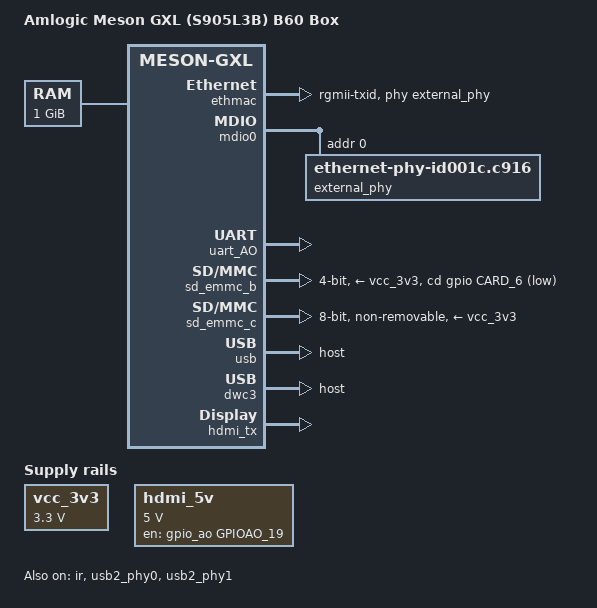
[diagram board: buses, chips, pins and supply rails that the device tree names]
// SPDX-License-Identifier: (GPL-2.0+ OR MIT)
/dts-v1/;

#include "meson-gxl-s905x.dtsi"

/ {
    model = "Amlogic Meson GXL (S905L3B) B60 Box";
    compatible = "amlogic,s905l3b", "amlogic,meson-gxl";

    aliases {
        ethernet0 = &ethmac;
        serial0 = &uart_AO;
    };

    chosen {
        stdout-path = "serial0:115200n8";
    };

    memory@0 {
        device_type = "memory";
        reg = <0x0 0x0 0x0 0x40000000>;
    };

    vcc_3v3: regulator-vcc-3v3 {
        compatible = "regulator-fixed";
        regulator-name = "VCC_3V3";
        regulator-min-microvolt = <3300000>;
        regulator-max-microvolt = <3300000>;
        regulator-always-on;
    };

    hdmi_5v: regulator-hdmi-5v {
        compatible = "regulator-fixed";
        regulator-name = "HDMI_5V";
        regulator-min-microvolt = <5000000>;
        regulator-max-microvolt = <5000000>;
        gpio = <&gpio_ao GPIOAO_19 GPIO_ACTIVE_HIGH>;
        enable-active-high;
        regulator-always-on;
    };
};

&ethmac {
    status = "okay";
    phy-mode = "rgmii-txid";
    phy-handle = <&external_phy>;
    amlogic,tx-delay-ns = <2>;
};

&mdio0 {
    external_phy: ethernet-phy@0 {
        reg = <0>;
        compatible = "ethernet-phy-id001c.c916", "ethernet-phy-ieee802.3-c22";
        interrupt-parent = <&gpio_intc>;
        interrupts = <25 IRQ_TYPE_LEVEL_LOW>;
    };
};

&uart_AO {
    status = "okay";
    pinctrl-0 = <&uart_ao_a_pins>;
    pinctrl-names = "default";
};

&ir {
    status = "okay";
    pinctrl-0 = <&remote_input_ao_pins>;
    pinctrl-names = "default";
};

&sd_emmc_b {
    status = "okay";
    bus-width = <4>;
    cap-sd-highspeed;
    max-frequency = <50000000>;
    disable-wp;
    cd-gpios = <&gpio CARD_6 GPIO_ACTIVE_LOW>;
    vmmc-supply = <&vcc_3v3>;
    vqmmc-supply = <&vcc_3v3>;
};

&sd_emmc_c {
    status = "okay";
    bus-width = <8>;
    cap-mmc-highspeed;
    mmc-hs200-1_8v;
    max-frequency = <200000000>;
    non-removable;
    disable-wp;
    vmmc-supply = <&vcc_3v3>;
    vqmmc-supply = <&vcc_3v3>;
};

&usb {
    status = "okay";
    dr_mode = "host";
};

&usb2_phy0 {
    status = "okay";
};

&usb2_phy1 {
    status = "okay";
};

&dwc3 {
    status = "okay";
    dr_mode = "host";
};

&hdmi_tx {
    status = "okay";
    hdmi-supply = <&hdmi_5v>;
};
